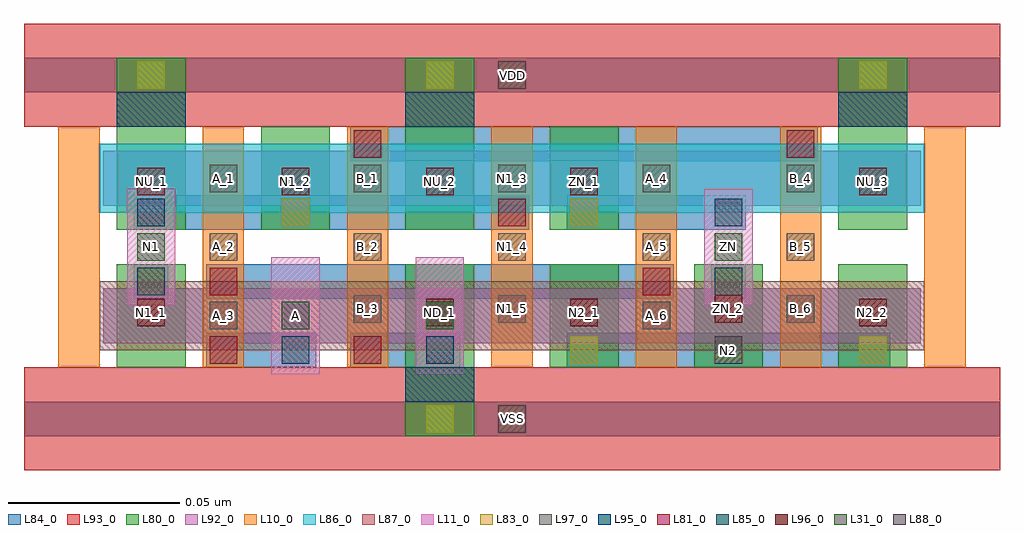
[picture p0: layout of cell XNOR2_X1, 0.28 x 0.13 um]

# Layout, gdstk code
import gdstk
lib = gdstk.Library(unit=1e-6, precision=1e-09)
def R(c, l, rs):  # rectangles x0, y0, x1, y1
    for r in rs: c.add(gdstk.rectangle(r[:2], r[2:], *l))
def A(c, l, x, y, w, h, nx, ny, dx, dy):  # array of equal rectangles
    R(c, l, [(x+i*dx, y+j*dy, x+i*dx+w, y+j*dy+h) for i in range(nx) for j in range(ny)])
L10_0 = (10, 0)
L11_0 = (11, 0)
L31_0 = (31, 0)
L80_0 = (80, 0)
L81_0 = (81, 0)
L83_0 = (83, 0)
L84_0 = (84, 0)
L85_0 = (85, 0)
L86_0 = (86, 0)
L87_0 = (87, 0)
L88_0 = (88, 0)
L92_0 = (92, 0)
L93_0 = (93, 0)
L95_0 = (95, 0)
L96_0 = (96, 0)
L97_0 = (97, 0)

xnor2_x1 = lib.new_cell('XNOR2_X1')
A(xnor2_x1, L10_0, -0.027, 0.015, 0.012, 0.07, 7, 1, 0.042, 0)
R(xnor2_x1, L11_0, [(0.035,0.013,0.049,0.047), (0.077,0.013,0.091,0.047), (-0.007,0.033,0.007,0.067), (-0.007,0.033,0.007,0.067), (0.161,0.033,0.175,0.067), (0.161,0.033,0.175,0.067)])
R(xnor2_x1, L31_0, [(0.038,0.026,0.046,0.034), (0.08,0.026,0.088,0.034), (-0.004,0.046,0.004,0.054), (0.164,0.046,0.172,0.054)])
A(xnor2_x1, L80_0, 0.074, 0.015, 0.02, 0.03, 3, 1, 0.042, 0)
A(xnor2_x1, L80_0, -0.01, 0.055, 0.02, 0.03, 4, 1, 0.042, 0)
R(xnor2_x1, L80_0, [(0.074,-0.005,0.094,0.025), (-0.01,0.015,0.01,0.045), (0.158,0.015,0.178,0.045), (0.2,0.015,0.22,0.045), (0.2,0.055,0.22,0.085), (-0.01,0.075,0.01,0.105), (0.074,0.075,0.094,0.105), (0.2,0.075,0.22,0.105)])
R(xnor2_x1, L81_0, [(0.017,0.016,0.025,0.024), (0.059,0.016,0.067,0.024), (0.017,0.036,0.025,0.044), (0.017,0.036,0.025,0.044), (0.143,0.036,0.151,0.044), (0.143,0.036,0.151,0.044), (0.101,0.056,0.109,0.064), (0.101,0.056,0.109,0.064), (0.059,0.076,0.067,0.084), (0.059,0.076,0.067,0.084), (0.185,0.076,0.193,0.084), (0.185,0.076,0.193,0.084)])
R(xnor2_x1, L83_0, [(0.08,-0.004,0.088,0.004), (0.122,0.016,0.13,0.024), (0.122,0.016,0.13,0.024), (0.206,0.016,0.214,0.024), (0.206,0.016,0.214,0.024), (-0.004,0.036,0.004,0.044), (-0.004,0.036,0.004,0.044), (0.164,0.036,0.172,0.044), (0.164,0.036,0.172,0.044), (0.038,0.056,0.046,0.064), (0.038,0.056,0.046,0.064), (0.122,0.056,0.13,0.064), (0.122,0.056,0.13,0.064), (-0.004,0.096,0.004,0.104), (0.08,0.096,0.088,0.104), (0.206,0.096,0.214,0.104)])
R(xnor2_x1, L84_0, [(-0.037,-0.005,0.247,0.005), (0.016,0.015,0.048,0.025), (0.058,0.015,0.09,0.025), (0.121,0.015,0.152,0.025), (0.121,0.015,0.152,0.025), (0.142,0.015,0.173,0.025), (0.142,0.015,0.173,0.025), (0.163,0.015,0.194,0.025), (0.163,0.015,0.194,0.025), (0.184,0.015,0.215,0.025), (0.184,0.015,0.215,0.025), (-0.005,0.035,0.005,0.045), (-0.005,0.035,0.005,0.045), (0.016,0.035,0.047,0.045), (0.016,0.035,0.047,0.045), (0.037,0.035,0.068,0.045), (0.037,0.035,0.068,0.045), (0.058,0.035,0.089,0.045), (0.058,0.035,0.089,0.045), (0.079,0.035,0.11,0.045), (0.079,0.035,0.11,0.045), (0.1,0.035,0.131,0.045), (0.1,0.035,0.131,0.045), (0.121,0.035,0.152,0.045), (0.121,0.035,0.152,0.045), (0.163,0.035,0.173,0.045), (0.163,0.035,0.173,0.045), (-0.005,0.055,0.026,0.065), (-0.005,0.055,0.026,0.065), (0.016,0.055,0.047,0.065), (0.016,0.055,0.047,0.065), (0.037,0.055,0.068,0.065), (0.037,0.055,0.068,0.065), (0.058,0.055,0.089,0.065), (0.058,0.055,0.089,0.065), (0.079,0.055,0.11,0.065), (0.079,0.055,0.11,0.065), (0.121,0.055,0.152,0.065), (0.121,0.055,0.152,0.065), (0.142,0.055,0.173,0.065), (0.142,0.055,0.173,0.065), (0.058,0.075,0.089,0.085), (0.058,0.075,0.089,0.085), (0.079,0.075,0.11,0.085), (0.079,0.075,0.11,0.085), (0.1,0.075,0.131,0.085), (0.1,0.075,0.131,0.085), (0.121,0.075,0.152,0.085), (0.121,0.075,0.152,0.085), (0.142,0.075,0.173,0.085), (0.142,0.075,0.173,0.085), (0.163,0.075,0.194,0.085), (0.163,0.075,0.194,0.085), (-0.037,0.095,0.247,0.105)])
R(xnor2_x1, L85_0, [(0.038,0.016,0.046,0.024), (0.08,0.016,0.088,0.024), (-0.004,0.036,0.004,0.044), (-0.004,0.036,0.004,0.044), (0.164,0.036,0.172,0.044), (0.164,0.036,0.172,0.044), (-0.004,0.056,0.004,0.064), (-0.004,0.056,0.004,0.064), (0.164,0.056,0.172,0.064), (0.164,0.056,0.172,0.064)])
R(xnor2_x1, L86_0, [(-0.015,0.06,0.225,0.08)])
R(xnor2_x1, L87_0, [(-0.015,0.02,0.225,0.04)])
R(xnor2_x1, L88_0, [(0.101,-0.004,0.109,0.004), (0.164,0.016,0.172,0.024), (0.101,0.096,0.109,0.104)])
R(xnor2_x1, L92_0, [(-0.014,0.022,0.224,0.038), (-0.014,0.062,0.224,0.078)])
R(xnor2_x1, L93_0, [(-0.037,-0.015,0.247,0.015), (-0.037,0.085,0.247,0.115)])
R(xnor2_x1, L95_0, [(0.074,0.005,0.094,0.015), (-0.01,0.085,0.01,0.095), (0.074,0.085,0.094,0.095), (0.2,0.085,0.22,0.095)])
A(xnor2_x1, L96_0, -0.004, 0.065, 0.008, 0.008, 4, 1, 0.042, 0)
R(xnor2_x1, L96_0, [(-0.004,0.027,0.004,0.035), (0.08,0.027,0.088,0.035), (0.122,0.027,0.13,0.035), (0.206,0.027,0.214,0.035), (0.164,0.028,0.172,0.036), (0.206,0.065,0.214,0.073)])
A(xnor2_x1, L97_0, 0.017, 0.046, 0.008, 0.008, 5, 2, 0.042, 0.02)
R(xnor2_x1, L97_0, [(0.017,0.026,0.025,0.034), (0.143,0.026,0.151,0.034), (0.059,0.028,0.067,0.036), (0.101,0.028,0.109,0.036), (0.185,0.028,0.193,0.036)])
xnor2_x1.add(gdstk.Label('N1_5', (0.105,0.032), layer=97, texttype=0))
xnor2_x1.add(gdstk.Label('N1_4', (0.105,0.05), layer=97, texttype=0))
xnor2_x1.add(gdstk.Label('N1_3', (0.105,0.07), layer=97, texttype=0))
xnor2_x1.add(gdstk.Label('A_1', (0.021,0.07), layer=97, texttype=0))
xnor2_x1.add(gdstk.Label('A_2', (0.021,0.05), layer=97, texttype=0))
xnor2_x1.add(gdstk.Label('A_3', (0.021,0.03), layer=97, texttype=0))
xnor2_x1.add(gdstk.Label('A_6', (0.147,0.03), layer=97, texttype=0))
xnor2_x1.add(gdstk.Label('A_4', (0.147,0.07), layer=97, texttype=0))
xnor2_x1.add(gdstk.Label('A_5', (0.147,0.05), layer=97, texttype=0))
xnor2_x1.add(gdstk.Label('B_3', (0.063,0.032), layer=97, texttype=0))
xnor2_x1.add(gdstk.Label('B_2', (0.063,0.05), layer=97, texttype=0))
xnor2_x1.add(gdstk.Label('B_1', (0.063,0.07), layer=97, texttype=0))
xnor2_x1.add(gdstk.Label('B_4', (0.189,0.07), layer=97, texttype=0))
xnor2_x1.add(gdstk.Label('B_5', (0.189,0.05), layer=97, texttype=0))
xnor2_x1.add(gdstk.Label('B_6', (0.189,0.032), layer=97, texttype=0))
xnor2_x1.add(gdstk.Label('N1_1', (0,0.031), layer=96, texttype=0))
xnor2_x1.add(gdstk.Label('NU_1', (0,0.069), layer=96, texttype=0))
xnor2_x1.add(gdstk.Label('N1_2', (0.042,0.069), layer=96, texttype=0))
xnor2_x1.add(gdstk.Label('ND_1', (0.084,0.031), layer=96, texttype=0))
xnor2_x1.add(gdstk.Label('NU_2', (0.084,0.069), layer=96, texttype=0))
xnor2_x1.add(gdstk.Label('N2_1', (0.126,0.031), layer=96, texttype=0))
xnor2_x1.add(gdstk.Label('ZN_1', (0.126,0.069), layer=96, texttype=0))
xnor2_x1.add(gdstk.Label('N2_2', (0.21,0.031), layer=96, texttype=0))
xnor2_x1.add(gdstk.Label('ZN_2', (0.168,0.032), layer=96, texttype=0))
xnor2_x1.add(gdstk.Label('NU_3', (0.21,0.069), layer=96, texttype=0))
xnor2_x1.add(gdstk.Label('VSS', (0.105,0), layer=88, texttype=0))
xnor2_x1.add(gdstk.Label('VDD', (0.105,0.1), layer=88, texttype=0))
xnor2_x1.add(gdstk.Label('N2', (0.168,0.02), layer=88, texttype=0))
xnor2_x1.add(gdstk.Label('N1', (0,0.05), layer=31, texttype=0))
xnor2_x1.add(gdstk.Label('ZN', (0.168,0.05), layer=31, texttype=0))
xnor2_x1.add(gdstk.Label('A', (0.042,0.03), layer=31, texttype=0))
xnor2_x1.add(gdstk.Label('B', (0.084,0.03), layer=31, texttype=0))

lib.write_gds('XNOR2_X1.gds')
